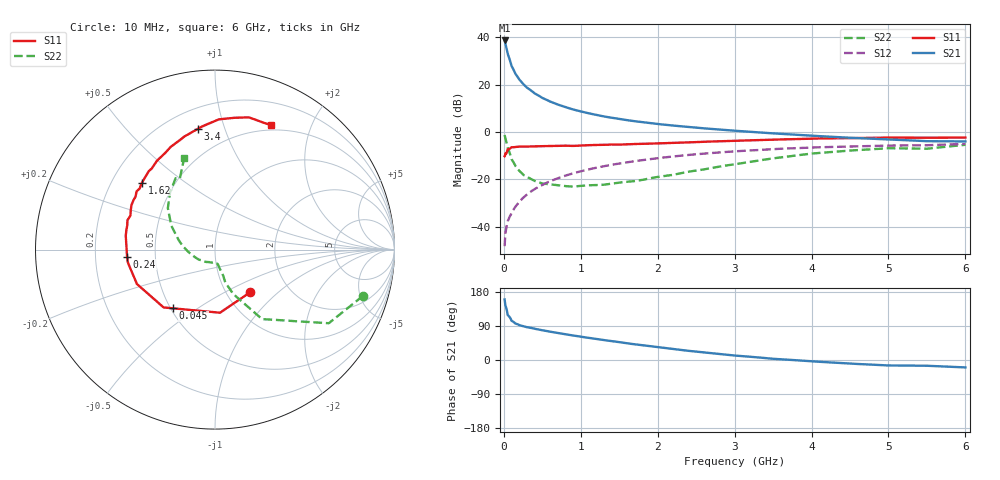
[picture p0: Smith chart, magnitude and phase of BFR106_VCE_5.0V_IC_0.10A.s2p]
! Infineon Technologies  Discrete & RF Semiconductors
! BFR106
! VCE =  5.0 V,  IC = 0.10 A
! Common Emitter S-Parameters:  Nov 2015
# GHz  S  MA  R  50
!  f  S11  S21  S12  S22
! GHz  MAG  ANG  MAG  ANG  MAG  ANG  MAG  ANG
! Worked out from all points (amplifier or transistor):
!   210 points, 10 MHz to 6 GHz, reference 50 ohm
!   highest |S21| = 38.6 dB at 10 MHz (marker M1)
!   |S21| within 3 dB of that: start of sweep to 32.32 MHz
!   unconditionally stable (mu >= 1): 175 MHz to 2.481 GHz; 5.437 GHz to 5.752 GHz
!   at 185 MHz: K = 1.01, MAG = 25.9 dB, |S12| = -30.1 dB
!   at 1.52 GHz: K = 1.07, MAG = 7.7 dB, |S12| = -13.2 dB
!   at 6 GHz: K = 0.99, MSG = 0.5 dB, |S12| = -5.0 dB
!   S11 on the Smith chart (normalised r, x): 10 MHz: 1.28, -0.68; 45 MHz: 0.51, -0.40; 240 MHz: 0.34, -0.04; 1.62 GHz: 0.33, +0.35; 3.4 GHz: 0.33, +0.82; 6 GHz: 0.44, +1.46
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0.01  0.3081 -50.8  85.19 159.7  0.0039 78.2  0.8625 -17.5
0.02  0.3528 -85.5  73.63 144.1  0.0072 71.2  0.7551 -32.9
0.045  0.4022 -125.6  48.27 125.0  0.012 61.7  0.508 -50.3
0.05  0.431 -131.6  44.26 118.8  0.013 60.7  0.4677 -55.9
0.1  0.4753 -156.2  24.75 103.6  0.0194 65.3  0.2677 -67.6
0.15  0.4824 -166.8  16.9 96.3  0.0265 67.9  0.1919 -72.6
0.2  0.4912 -171.9  12.85 92.3  0.0332 71.1  0.1521 -72.5
0.24  0.4912 -175.4  10.8 89.8  0.0393 71.8  0.1306 -73.8
0.3  0.4921 -178.9  8.624 86.6  0.0478 73.8  0.1127 -75.7
0.4  0.4965 176.0  6.528 82.4  0.0623 74.1  0.093 -77.6
0.5  0.5029 171.8  5.233 78.4  0.0763 74.0  0.0819 -79.0
0.6  0.5055 168.4  4.396 74.7  0.0913 73.1  0.0783 -82.2
0.7  0.507 164.6  3.793 71.1  0.1052 72.0  0.0755 -87.0
1.02  0.52 154.3  2.661 60.9  0.1508 67.9  0.0735 -101.0
1.3  0.5318 146.4  2.128 52.5  0.1893 64.0  0.0772 -116.1
1.62  0.5517 137.5  1.757 43.6  0.2314 59.2  0.0896 -134.3
2.02  0.5747 127.5  1.462 33.5  0.2822 53.1  0.1139 -155.1
3.1  0.6585 103.3  1.035 10.3  0.399 36.3  0.2208 162.0
3.4  0.6805 97.9  0.958 5.1  0.4267 31.8  0.2626 153.5
4.1  0.7285 86.9  0.818 -4.7  0.4756 21.2  0.3603 136.2
5.1  0.7592 74.4  0.685 -14.5  0.5179 8.6  0.4518 118.4
6  0.7612 65.7  0.632 -19.6  0.562 -1.0  0.5364 108.7
